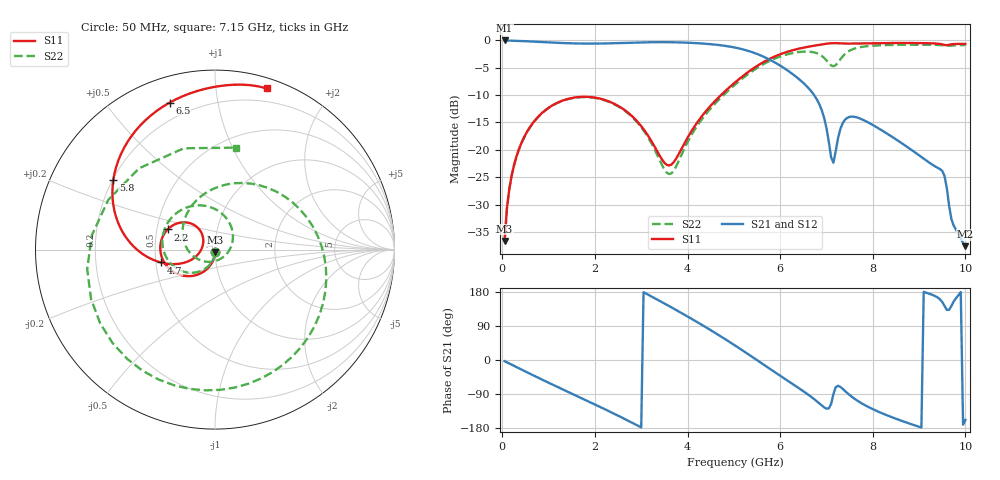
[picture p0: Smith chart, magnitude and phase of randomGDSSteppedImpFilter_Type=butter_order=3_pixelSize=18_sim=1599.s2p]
! freq	dB(S11)	phase(S11)	dB(S12)	phase(S12)
!  dB(S21)	phase(S21)	dB(S22)	phase(S22)
!S-par simulation data
#  GHz  S  DB  R 50
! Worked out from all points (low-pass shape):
!   200 points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, 50 MHz to 10 GHz, reference 50 ohm
!   highest |S21| = -0.02 dB at 50 MHz (marker M1); lowest = -37.6 dB at 10 GHz (marker M2)
!   |S21| within 3 dB of the highest: start of sweep to 5.65 GHz
!   lowest |S11| = -36.6 dB at 50 MHz (marker M3), VSWR 1.03, Z = 50 - j1.47 ohm
!   |S11| at or under -10 dB: start of sweep to 4.722 GHz
!   |S22| runs from -36.6 to -0.8 dB; largest |S21 - S12| = 0
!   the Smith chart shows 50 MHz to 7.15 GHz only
!   S11 on the Smith chart (normalised r, x): 50 MHz: 1.00, -0.03; 2.2 GHz: 0.57, +0.14; 4.7 GHz: 0.53, -0.08; 5.8 GHz: 0.20, +0.30; 6.5 GHz: 0.12, +0.73; 7.15 GHz: 0.08, +1.37
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0.05  -36.63 -87.4  -0.02 -3.1  -0.02 -3.1  -36.65 -87.9
0.2  -24.79 -98.9  -0.06 -12.3  -0.06 -12.3  -24.82 -100.8
0.5  -17.22 -117.2  -0.15 -30.4  -0.15 -30.4  -17.26 -122.0
1.15  -11.56 -152.6  -0.43 -68.7  -0.43 -68.7  -11.61 -164.7
1.75  -10.31 177.6  -0.59 -103.0  -0.59 -103.0  -10.36 156.3
2.2  -10.85 156.9  -0.57 -129.0  -0.57 -129.0  -10.93 125.2
2.85  -14.24 132.1  -0.41 -168.5  -0.41 -168.5  -14.39 72.4
3.4  -21.09 138.1  -0.33 155.9  -0.33 155.9  -21.90 -1.7
3.65  -22.69 172.9  -0.34 139.1  -0.34 139.1  -24.30 -75.3
4.1  -16.37 -156.5  -0.47 107.8  -0.47 107.8  -17.07 -172.5
4.7  -10.18 -166.6  -0.88 63.7  -0.88 63.7  -10.63 110.2
5.05  -7.51 -178.5  -1.36 36.4  -1.36 36.4  -7.91 67.3
5.8  -3.27 145.6  -3.64 -25.2  -3.64 -25.2  -3.65 -20.6
6.5  -1.34 107.2  -7.77 -82.3  -7.77 -82.3  -2.06 -99.9
6.7  -1.03 96.6  -9.61 -100.0  -9.61 -100.0  -2.14 -128.7
6.95  -0.68 83.4  -14.17 -124.9  -14.17 -124.9  -3.21 173.4
7.15  -0.51 72.2  -22.35 -90.2  -22.35 -90.2  -4.73 78.4
7.3  -0.55 64.3  -16.19 -70.9  -16.19 -70.9  -3.46 0.5
7.6  -0.59 50.5  -13.96 -101.8  -13.96 -101.8  -1.52 -74.9
8.35  -0.49 17.8  -17.26 -148.0  -17.26 -148.0  -0.85 -142.4
9.5  -0.73 -29.3  -23.85 153.1  -23.85 153.1  -0.90 156.8
10  -0.66 -46.9  -37.59 -158.1  -37.59 -158.1  -0.87 133.5
